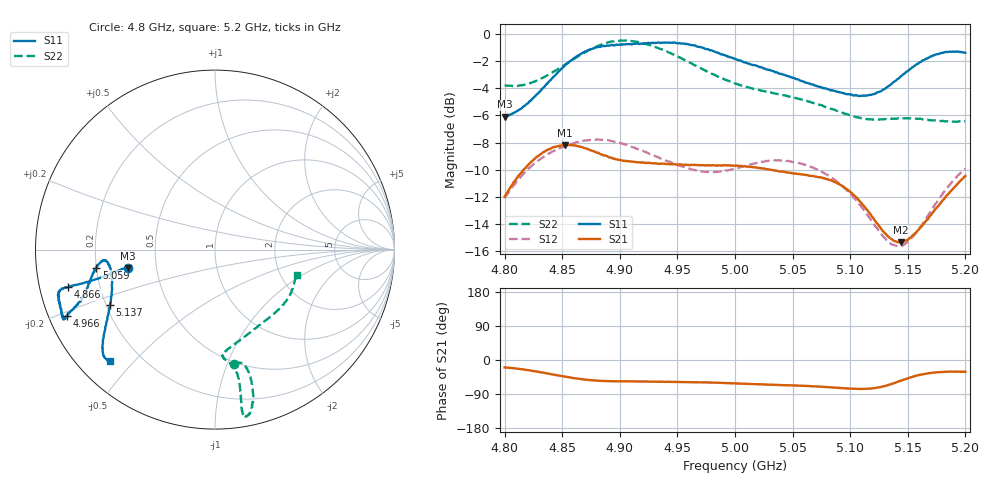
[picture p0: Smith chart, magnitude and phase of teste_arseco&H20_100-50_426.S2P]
! Network Analyzer HP8722D
! Hewlett-Packard
! Data name: Linha & Wilkinson
! Saver's name: Rodrigo Anjos
! Comments: Teste da utilização de aquisição
! continua pelo VNA HP8722D
! Time and date: 6/5/2025 16:07
!  Frequency  S11  S21  S12  S22
# HZ  S  MA R 50
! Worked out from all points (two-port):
!   401 points, 4.8 GHz to 5.2 GHz, reference 50 ohm
!   highest |S21| = -8.16 dB at 4.852 GHz (marker M1); lowest = -15.3 dB at 5.144 GHz (marker M2)
!   |S21| within 3 dB of the highest: 4.806 GHz to 5.093 GHz (286.5 MHz wide, 5.79 % of centre); 5.191727 GHz to end of sweep
!   lowest |S11| = -6.1 dB at 4.8 GHz (marker M3), VSWR 2.97, Z = 17 - j4.65 ohm
!   |S11| at or under -10 dB: nowhere
!   |S22| runs from -6.5 to -0.5 dB; largest |S21 - S12| = 0.62
!   S11 on the Smith chart (normalised r, x): 4.8 GHz: 0.34, -0.09; 4.866 GHz: 0.09, -0.12; 4.966 GHz: 0.05, -0.21; 5.059 GHz: 0.20, -0.07; 5.137 GHz: 0.22, -0.24; 5.2 GHz: 0.09, -0.43
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4.8e9  0.4964 -168.0  0.2519 -19.6  0.2486 -140.8  0.6478 -80.3
4.826e9  0.5875 -167.1  0.3473 -29.7  0.3334 -144.3  0.6677 -75.7
4.852e9  0.7634 -165.7  0.3907 -43.7  0.3873 -149.3  0.7686 -74.6
4.866e9  0.8432 -165.8  0.3838 -50.3  0.4025 -151.7  0.8367 -75.2
4.867e9  0.849 -165.7  0.3838 -50.6  0.4033 -151.9  0.844 -75.4
4.88e9  0.8938 -165.2  0.3656 -54.4  0.4085 -154.1  0.9002 -76.7
4.9e9  0.9131 -162.4  0.3437 -56.1  0.3971 -156.3  0.9441 -79.1
4.934e9  0.9309 -156.4  0.3326 -57.4  0.3512 -155.5  0.8835 -80.5
4.966e9  0.9023 -155.9  0.3293 -58.7  0.3149 -148.2  0.7634 -79.7
5e9  0.8089 -158.8  0.3274 -61.8  0.3197 -137.1  0.6572 -81.2
5.034e9  0.7279 -165.0  0.3145 -65.7  0.3423 -134.1  0.6051 -85.6
5.059e9  0.6686 -171.4  0.3038 -68.1  0.3321 -135.9  0.5717 -84.3
5.067e9  0.6515 -172.9  0.3006 -69.2  0.3233 -136.6  0.558 -82.6
5.084e9  0.6208 -174.6  0.289 -72.4  0.2956 -138.3  0.5291 -76.2
5.1e9  0.5979 -172.1  0.2623 -75.5  0.2587 -138.7  0.5027 -67.2
5.116e9  0.5954 -165.5  0.2215 -75.7  0.2126 -135.6  0.4851 -55.9
5.134e9  0.6451 -154.1  0.178 -65.2  0.1704 -120.7  0.487 -43.3
5.137e9  0.6615 -152.3  0.1744 -62.3  0.168 -116.8  0.4877 -41.5
5.144e9  0.6981 -148.6  0.1712 -54.5  0.1662 -107.6  0.4871 -37.4
5.154e9  0.7534 -144.3  0.1814 -44.5  0.1791 -95.0  0.4878 -32.3
5.174e9  0.839 -138.3  0.227 -32.7  0.2368 -80.2  0.4807 -23.9
5.2e9  0.8523 -133.5  0.3003 -31.3  0.3193 -76.8  0.4772 -17.4
